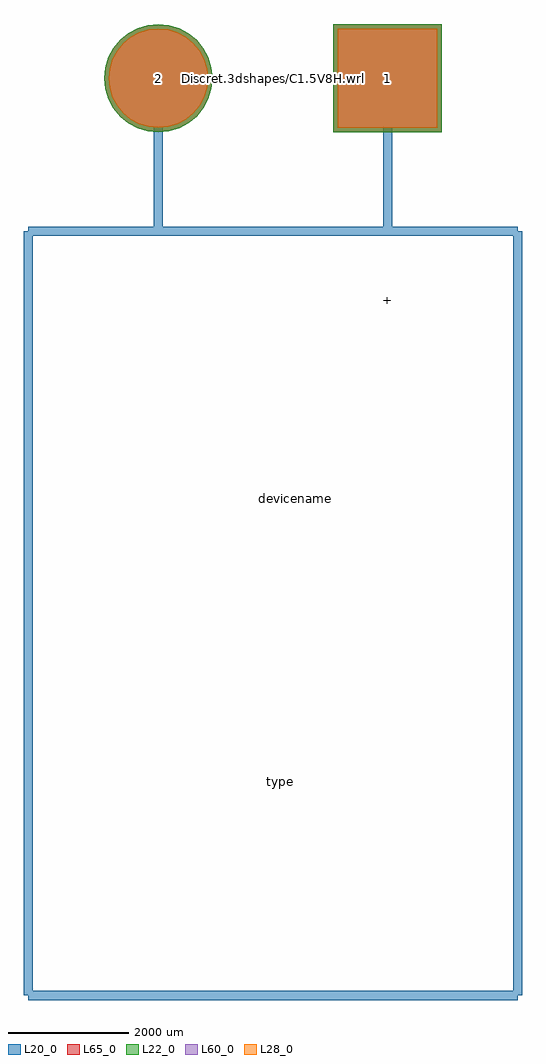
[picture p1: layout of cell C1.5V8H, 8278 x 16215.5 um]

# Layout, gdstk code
import gdstk
lib = gdstk.Library(unit=1e-6, precision=1e-09)
def R(c, l, rs):  # rectangles x0, y0, x1, y1
    for r in rs: c.add(gdstk.rectangle(r[:2], r[2:], *l))
def P(c, l, *ps):  # polygons
    for p in ps: c.add(gdstk.Polygon(p, *l))
L20_0 = (20, 0)
L22_0 = (22, 0)
L28_0 = (28, 0)
L60_0 = (60, 0)
L65_0 = (65, 0)

c1_5v8h = lib.new_cell('C1.5V8H')
R(c1_5v8h, L22_0, [(1004.5,-900.5,2805.5,900.5)])
P(c1_5v8h, L22_0, [(-1004.5,0),(-1021.803,175.679),(-1073.046,344.606),(-1156.262,500.291),(-1268.25,636.75),(-1404.709,748.738),(-1560.394,831.954),(-1729.321,883.197),(-1905,900.5),(-2080.679,883.197),(-2249.606,831.954),(-2405.291,748.738),(-2541.75,636.75),(-2653.738,500.291),(-2736.954,344.606),(-2788.197,175.679),(-2805.5,0),(-2788.197,-175.679),(-2736.954,-344.606),(-2653.738,-500.291),(-2541.75,-636.75),(-2405.291,-748.738),(-2249.606,-831.954),(-2080.679,-883.197),(-1905,-900.5),(-1729.321,-883.197),(-1560.394,-831.954),(-1404.709,-748.738),(-1268.25,-636.75),(-1156.262,-500.291),(-1073.046,-344.606),(-1021.803,-175.679)])
R(c1_5v8h, L28_0, [(1079.5,-825.5,2730.5,825.5)])
P(c1_5v8h, L28_0, [(-1079.5,0),(-1095.362,161.047),(-1142.337,315.905),(-1218.622,458.623),(-1321.283,583.717),(-1446.377,686.378),(-1589.095,762.663),(-1743.953,809.638),(-1905,825.5),(-2066.047,809.638),(-2220.905,762.663),(-2363.623,686.378),(-2488.717,583.717),(-2591.378,458.623),(-2667.663,315.905),(-2714.638,161.047),(-2730.5,0),(-2714.638,-161.047),(-2667.663,-315.905),(-2591.378,-458.623),(-2488.717,-583.717),(-2363.623,-686.378),(-2220.905,-762.663),(-2066.047,-809.638),(-1905,-825.5),(-1743.953,-809.638),(-1589.095,-762.663),(-1446.377,-686.378),(-1321.283,-583.717),(-1218.622,-458.623),(-1142.337,-315.905),(-1095.362,-161.047)])
R(c1_5v8h, L60_0, [(1079.5,-825.5,2730.5,825.5)])
P(c1_5v8h, L60_0, [(-1079.5,0),(-1095.362,161.047),(-1142.337,315.905),(-1218.622,458.623),(-1321.283,583.717),(-1446.377,686.378),(-1589.095,762.663),(-1743.953,809.638),(-1905,825.5),(-2066.047,809.638),(-2220.905,762.663),(-2363.623,686.378),(-2488.717,583.717),(-2591.378,458.623),(-2667.663,315.905),(-2714.638,161.047),(-2730.5,0),(-2714.638,-161.047),(-2667.663,-315.905),(-2591.378,-458.623),(-2488.717,-583.717),(-2363.623,-686.378),(-2220.905,-762.663),(-2066.047,-809.638),(-1905,-825.5),(-1743.953,-809.638),(-1589.095,-762.663),(-1446.377,-686.378),(-1321.283,-583.717),(-1218.622,-458.623),(-1142.337,-315.905),(-1095.362,-161.047)])
R(c1_5v8h, L65_0, [(1004.5,-900.5,2805.5,900.5)])
P(c1_5v8h, L65_0, [(-1004.5,0),(-1021.803,175.679),(-1073.046,344.606),(-1156.262,500.291),(-1268.25,636.75),(-1404.709,748.738),(-1560.394,831.954),(-1729.321,883.197),(-1905,900.5),(-2080.679,883.197),(-2249.606,831.954),(-2405.291,748.738),(-2541.75,636.75),(-2653.738,500.291),(-2736.954,344.606),(-2788.197,175.679),(-2805.5,0),(-2788.197,-175.679),(-2736.954,-344.606),(-2653.738,-500.291),(-2541.75,-636.75),(-2405.291,-748.738),(-2249.606,-831.954),(-2080.679,-883.197),(-1905,-900.5),(-1729.321,-883.197),(-1560.394,-831.954),(-1404.709,-748.738),(-1268.25,-636.75),(-1156.262,-500.291),(-1073.046,-344.606),(-1021.803,-175.679)])
c1_5v8h.add(gdstk.FlexPath([(1905,0),(1905,-2540)], 149.998, ends="flush", simple_path=True, layer=20, datatype=0))  # L20_0
c1_5v8h.add(gdstk.FlexPath([(-1905,0),(-1905,-2540)], 149.998, ends="flush", simple_path=True, layer=20, datatype=0))  # L20_0
c1_5v8h.add(gdstk.FlexPath([(4064,-2540),(4064,-15240)], 149.998, ends="flush", simple_path=True, layer=20, datatype=0))  # L20_0
c1_5v8h.add(gdstk.FlexPath([(-4064,-2540),(-4064,-15240)], 149.998, ends="flush", simple_path=True, layer=20, datatype=0))  # L20_0
c1_5v8h.add(gdstk.FlexPath([(4064,-2540),(-4064,-2540)], 149.998, ends="flush", simple_path=True, layer=20, datatype=0))  # L20_0
c1_5v8h.add(gdstk.FlexPath([(-4064,-15240),(4064,-15240)], 149.998, ends="flush", simple_path=True, layer=20, datatype=0))  # L20_0
c1_5v8h.add(gdstk.Label('Discret.3dshapes/C1.5V8H.wrl', (0,0), layer=12, texttype=0))
c1_5v8h.add(gdstk.Label('2', (-1905,0), layer=28, texttype=0))
c1_5v8h.add(gdstk.Label('1', (1905,0), layer=28, texttype=0))
c1_5v8h.add(gdstk.Label('+', (1905,-3683), layer=9, texttype=0))
c1_5v8h.add(gdstk.Label('type', (127,-11684), layer=9, texttype=0))
c1_5v8h.add(gdstk.Label('devicename', (381,-6985), layer=9, texttype=0))

lib.write_gds('C1.5V8H.gds')
